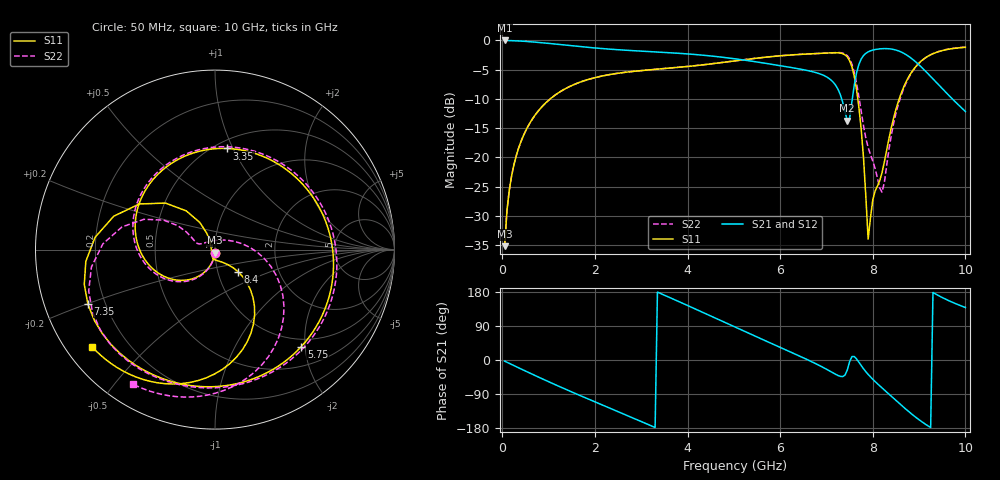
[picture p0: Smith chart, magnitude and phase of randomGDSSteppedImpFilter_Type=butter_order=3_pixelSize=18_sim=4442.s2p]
! freq	dB(S11)	phase(S11)	dB(S12)	phase(S12)
!  dB(S21)	phase(S21)	dB(S22)	phase(S22)
!S-par simulation data
#  GHz  S  DB  R 50
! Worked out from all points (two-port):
!   200 points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, 50 MHz to 10 GHz, reference 50 ohm
!   highest |S21| = 0.00 dB at 50 MHz (marker M1); lowest = -13.7 dB at 7.45 GHz (marker M2)
!   |S21| within 3 dB of the highest: start of sweep to 4.889 GHz; 7.764 GHz to 8.824 GHz (1.059 GHz wide, 12.8 % of centre)
!   lowest |S11| = -35.2 dB at 50 MHz (marker M3), VSWR 1.04, Z = 49.9 - j1.73 ohm
!   |S11| at or under -10 dB: start of sweep to 1.035 GHz; 7.676 GHz to 8.571 GHz (895 MHz wide, 11 % of centre)
!   |S22| runs from -35.2 to -1.1 dB; largest |S21 - S12| = 0
!   S11 on the Smith chart (normalised r, x): 50 MHz: 1.00, -0.03; 3.35 GHz: 0.57, +0.95; 5.75 GHz: 0.85, -1.92; 7.35 GHz: 0.13, -0.20; 8.4 GHz: 1.25, -0.32; 10 GHz: 0.08, -0.35
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0.05  -35.20 -92.9  -0.00 -3.0  -0.00 -3.0  -35.20 -92.8
0.2  -23.21 -102.3  -0.04 -11.8  -0.04 -11.8  -23.21 -101.8
0.5  -15.54 -120.3  -0.16 -29.1  -0.16 -29.1  -15.54 -118.9
1.1  -9.59 -155.0  -0.59 -62.8  -0.59 -62.8  -9.58 -151.8
1.75  -6.94 169.4  -1.11 -97.4  -1.11 -97.4  -6.94 174.5
2.6  -5.51 123.8  -1.64 -141.4  -1.64 -141.4  -5.50 132.1
3.35  -4.92 83.1  -1.98 179.1  -1.98 179.1  -4.92 94.1
3.4  -4.89 80.4  -2.01 176.5  -2.01 176.5  -4.88 91.5
4.3  -4.21 30.5  -2.50 127.3  -2.50 127.3  -4.20 43.6
5.05  -3.47 -10.8  -3.17 85.6  -3.17 85.6  -3.47 2.2
5.75  -2.81 -48.4  -4.00 47.1  -4.00 47.1  -2.81 -36.5
6.7  -2.27 -100.2  -5.35 -5.6  -5.35 -5.6  -2.27 -89.8
7.35  -2.26 -156.7  -10.55 -43.7  -10.55 -43.7  -2.16 -145.1
7.45  -2.82 -174.8  -13.73 -26.3  -13.73 -26.3  -2.61 -161.9
7.7  -11.42 126.6  -4.10 -5.8  -4.10 -5.8  -9.63 150.2
7.9  -33.99 178.6  -1.95 -38.0  -1.95 -38.0  -18.31 157.6
8.2  -22.62 -65.2  -1.41 -73.7  -1.41 -73.7  -25.96 93.7
8.35  -16.77 -44.9  -1.43 -90.1  -1.43 -90.1  -18.62 23.0
8.4  -14.93 -43.8  -1.47 -95.6  -1.47 -95.6  -16.23 12.3
8.95  -4.28 -78.7  -3.83 -153.1  -3.83 -153.1  -4.34 -54.4
9.4  -1.96 -110.5  -7.41 171.3  -7.41 171.3  -1.94 -89.7
10  -1.18 -141.7  -12.15 138.5  -12.15 138.5  -1.13 -121.5
